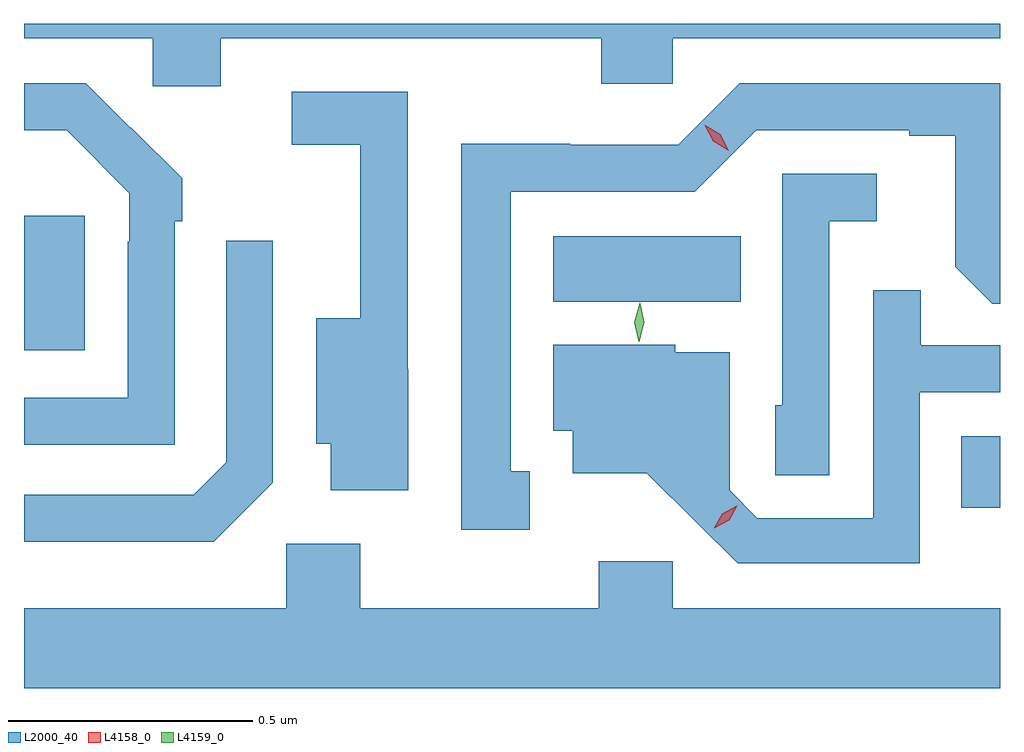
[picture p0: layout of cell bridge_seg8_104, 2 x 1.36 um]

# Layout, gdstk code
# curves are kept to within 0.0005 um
import gdstk
lib = gdstk.Library(unit=1e-6, precision=1e-09)
def R(c, l, rs):  # rectangles x0, y0, x1, y1
    for r in rs: c.add(gdstk.rectangle(r[:2], r[2:], *l))
def P(c, l, *ps):  # polygons
    for p in ps: c.add(gdstk.Polygon(p, *l))
L2000_40 = (2000, 40)
L4158_0 = (4158, 0)
L4159_0 = (4159, 0)

bridge_seg8_104 = lib.new_cell('bridge_seg8_104')
R(bridge_seg8_104, L2000_40, [(707.638,1162.158,707.717,1162.305), (705.717,1162.481,705.841,1162.756), (706.802,1162.58,707.186,1162.714)])
P(bridge_seg8_104, L2000_40, [(706.9,1163.027),(707.046,1163.027),(707.046,1163.12),(707.717,1163.12),(707.717,1163.15),(705.717,1163.15),(705.717,1163.12),(705.981,1163.12),(705.981,1163.022),(706.12,1163.022),(706.12,1163.12),(706.9,1163.12)],
  [(706.026,1162.745),(706.041,1162.745),(706.041,1162.833),(705.936,1162.938),(705.935,1162.937),(705.844,1163.028),(705.717,1163.028),(705.717,1162.932),(705.805,1162.932),(705.933,1162.803),(705.933,1162.703),(705.93,1162.703),(705.93,1162.383),(705.717,1162.383),(705.717,1162.287),(706.026,1162.287)],
  [(706.753,1162.233),(706.714,1162.233),(706.714,1162.806),(707.091,1162.806),(707.217,1162.932),(707.531,1162.932),(707.531,1162.92),(707.625,1162.92),(707.625,1162.652),(707.701,1162.576),(707.717,1162.576),(707.717,1163.028),(707.184,1163.028),(707.058,1162.902),(706.836,1162.902),(706.836,1162.904),(706.613,1162.904),(706.613,1162.113),(706.753,1162.113)],
  [(706.504,1162.442),(706.503,1162.442),(706.503,1163.01),(706.266,1163.01),(706.266,1162.902),(706.406,1162.902),(706.406,1162.546),(706.316,1162.546),(706.316,1162.289),(706.346,1162.289),(706.346,1162.194),(706.504,1162.194)],
  [(707.367,1162.745),(707.464,1162.745),(707.464,1162.842),(707.271,1162.842),(707.271,1162.368),(707.256,1162.368),(707.256,1162.225),(707.367,1162.225)],
  [(706.227,1162.209),(706.227,1162.705),(706.131,1162.705),(706.131,1162.251),(706.065,1162.185),(705.717,1162.185),(705.717,1162.088),(706.106,1162.088)],
  [(707.553,1162.395),(707.717,1162.395),(707.717,1162.491),(707.555,1162.491),(707.555,1162.604),(707.457,1162.604),(707.457,1162.137),(707.22,1162.137),(707.163,1162.194),(707.163,1162.477),(707.052,1162.477),(707.052,1162.492),(706.802,1162.492),(706.802,1162.316),(706.841,1162.316),(706.841,1162.229),(706.993,1162.229),(707.18,1162.044),(707.553,1162.044)],
  [(707.717,1161.952),(707.046,1161.952),(707.046,1162.048),(706.895,1162.048),(706.895,1161.952),(706.406,1161.952),(706.406,1162.084),(706.254,1162.084),(706.254,1161.952),(705.717,1161.952),(705.717,1161.788),(707.717,1161.788)])
P(bridge_seg8_104, L4158_0, [(707.131,1162.116),(707.131,1162.117),(707.148,1162.146),(707.178,1162.162),(707.179,1162.162),(707.179,1162.162),(707.162,1162.132),(707.131,1162.116)],
  [(707.161,1162.89),(707.129,1162.909),(707.112,1162.942),(707.112,1162.942),(707.113,1162.942),(707.144,1162.923),(707.161,1162.89),(707.161,1162.89)])
P(bridge_seg8_104, L4159_0, [(706.977,1162.498),(706.968,1162.538),(706.979,1162.577),(706.979,1162.578),(706.98,1162.577),(706.988,1162.538),(706.978,1162.498),(706.978,1162.498)])

lib.write_gds('bridge_seg8_104.gds')
